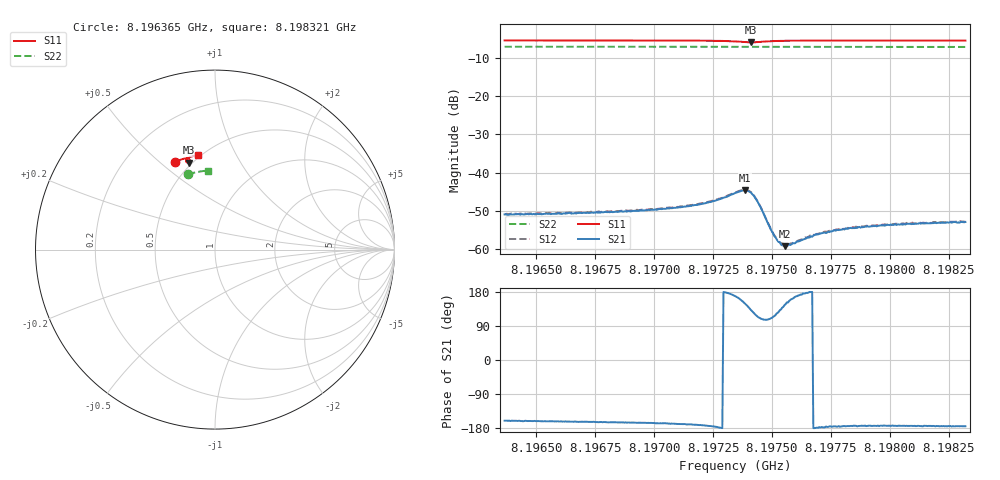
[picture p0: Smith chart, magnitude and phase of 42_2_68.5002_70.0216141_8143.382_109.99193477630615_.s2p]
#  HZ  S  RI  R  50.00
! Rohde & Schwarz Vector Network Analyzer
! Rohde-Schwarz,ZNB20-2Port,1311601062101988,3.16
! Created: UTC 3/20/2024, 4:50:23 PM
! freq[Hz]  re:S11  im:S11  re:S21  im:S21  re:S12  im:S12  re:S22  im:S22
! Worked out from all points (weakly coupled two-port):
!   401 points, 8.196365 GHz to 8.198321 GHz, reference 50 ohm
!   highest |S21| = -44.59 dB at 8.197387 GHz (marker M1); lowest = -59.2 dB at 8.197553 GHz (marker M2)
!   lowest |S11| = -5.9 dB at 8.197412 GHz (marker M3), VSWR 3.05, Z = 24 + j31.2 ohm
!   |S11| at or under -10 dB: nowhere
!   |S22| runs from -7.1 to -7.0 dB; largest |S21 - S12| = 0.00032
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8.1963654e9  -0.2231 0.4885  -0.00268 -0.000965  -0.00275 -0.000879  -0.1493 0.4193
8.196693e9  -0.2007 0.4974  -0.00283 -0.000871  -0.00294 -0.000782  -0.1317 0.4247
8.1970206e9  -0.1768 0.5056  -0.00325 -0.00074  -0.00332 -0.000611  -0.1138 0.4292
8.1970939e9  -0.1708 0.5071  -0.00342 -0.000696  -0.0035 -0.000577  -0.1099 0.4301
8.1972112e9  -0.1598 0.5089  -0.00393 -0.000515  -0.00403 -0.000354  -0.1033 0.4316
8.1972797e9  -0.1515 0.5081  -0.00451 -0.000125  -0.00459 4.12e-05  -0.0996 0.4322
8.1973432e9  -0.142 0.5023  -0.0053 0.00106  -0.00533 0.00129  -0.0958 0.4326
8.1973872e9  -0.1405 0.4904  -0.00501 0.00311  -0.00492 0.00337  -0.0936 0.4329
8.1974117e9  -0.1473 0.4844  -0.00361 0.0041  -0.00348 0.00432  -0.0924 0.4329
8.1974263e9  -0.153 0.4843  -0.00253 0.00409  -0.0024 0.00428  -0.0917 0.4332
8.197441e9  -0.1578 0.4867  -0.00162 0.00374  -0.00151 0.00385  -0.0911 0.4333
8.1974899e9  -0.1613 0.4991  -0.000612 0.00187  -0.000551 0.00192  -0.0885 0.4341
8.1975143e9  -0.1595 0.5036  -0.000674 0.00127  -0.000638 0.00131  -0.0871 0.4345
8.1975339e9  -0.1575 0.5061  -0.000815 0.000917  -0.000769 0.000951  -0.086 0.4347
8.1975535e9  -0.1555 0.5081  -0.000896 0.000626  -0.000912 0.00071  -0.0848 0.4349
8.1975779e9  -0.1529 0.5101  -0.00105 0.000418  -0.00109 0.000474  -0.0836 0.4352
8.1976708e9  -0.1442 0.5147  -0.00146 9.4e-06  -0.00149 3e-05  -0.0782 0.4359
8.1977539e9  -0.137 0.5172  -0.00171 -0.000107  -0.00175 -2.91e-05  -0.0736 0.4368
8.1978223e9  -0.1317 0.5188  -0.00184 -0.000188  -0.0019 -9.49e-05  -0.0698 0.4372
8.1979103e9  -0.125 0.5205  -0.00195 -0.000229  -0.00204 -0.000136  -0.0649 0.4378
8.1979983e9  -0.1183 0.5222  -0.00205 -0.000228  -0.00212 -0.000154  -0.0598 0.4383
8.198321e9  -0.0948 0.5267  -0.00226 -0.000205  -0.0023 -9.43e-05  -0.0418 0.4397
